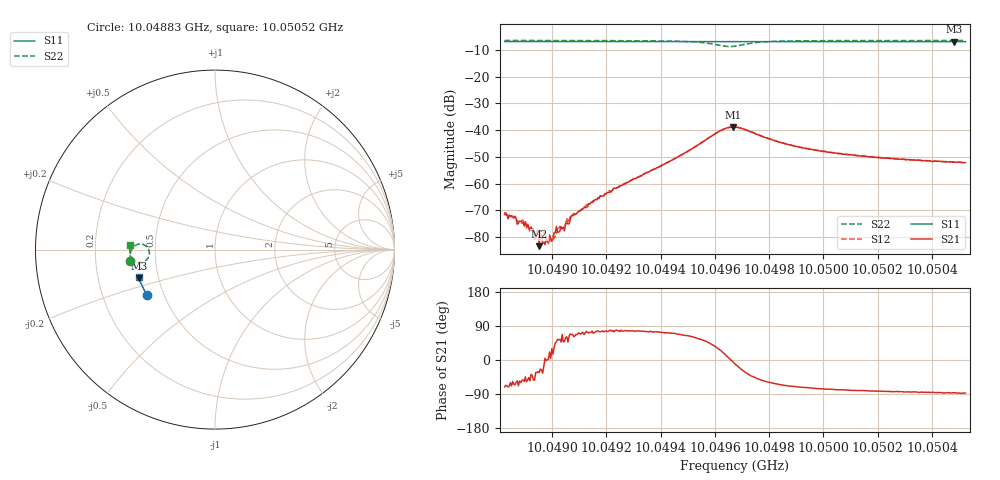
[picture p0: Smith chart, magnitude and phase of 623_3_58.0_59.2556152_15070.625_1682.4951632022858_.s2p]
#  HZ  S  RI  R  50.00
! Rohde & Schwarz Vector Network Analyzer
! Rohde-Schwarz,ZNB20-2Port,1311601062101988,3.16
! Created: UTC 3/21/2024, 1:18:14 AM
! freq[Hz]  re:S11  im:S11  re:S21  im:S21  re:S12  im:S12  re:S22  im:S22
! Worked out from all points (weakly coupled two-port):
!   401 points, 10.04883 GHz to 10.05052 GHz, reference 50 ohm
!   highest |S21| = -38.79 dB at 10.04967 GHz (marker M1); lowest = -83.4 dB at 10.04895 GHz (marker M2)
!   lowest |S11| = -6.9 dB at 10.05048 GHz (marker M3), VSWR 2.65, Z = 19.4 - j7.69 ohm
!   |S11| at or under -10 dB: nowhere
!   |S22| runs from -8.7 to -6.4 dB; largest |S21 - S12| = 0.00086
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1.0048825e10  -0.3772 -0.2551  8.64e-05 -0.000252  0.000128 -0.000265  -0.472 -0.0626
1.0048872e10  -0.3789 -0.2525  9.89e-05 -0.000143  0.000115 -0.000171  -0.4725 -0.0589
1.0048893e10  -0.3795 -0.2514  0.000114 -0.000149  0.000101 -0.00018  -0.4725 -0.0571
1.0048936e10  -0.381 -0.2489  5.38e-05 -7.18e-05  5.53e-05 -7.75e-05  -0.4726 -0.0537
1.0048953e10  -0.3816 -0.2479  5.67e-05 -3.73e-05  7.74e-05 -4.76e-05  -0.4727 -0.0523
1.0048978e10  -0.3825 -0.2465  0.000102 -3.58e-06  9.2e-05 -1.67e-05  -0.4727 -0.0502
1.0049008e10  -0.3833 -0.2448  0.000102 6.77e-05  7.48e-05 6.01e-05  -0.473 -0.0478
1.0049029e10  -0.3842 -0.2437  7.59e-05 0.000106  9.6e-05 0.000128  -0.473 -0.0458
1.0049042e10  -0.3846 -0.2429  0.000104 0.000114  6.23e-05 0.000141  -0.473 -0.0448
1.0049054e10  -0.3851 -0.2422  8.85e-05 0.000161  0.000117 0.000196  -0.4729 -0.0437
1.0049076e10  -0.3859 -0.2409  9.53e-05 0.000231  0.000111 0.000229  -0.473 -0.0418
1.004911e10  -0.3869 -0.2389  0.000103 0.000317  9.13e-05 0.000322  -0.4728 -0.0387
1.004922e10  -0.3905 -0.2327  0.000181 0.000706  0.000119 0.000738  -0.4723 -0.0276
1.0049394e10  -0.3958 -0.2225  0.000583 0.00198  0.000445 0.00202  -0.4667 -0.00473
1.0049619e10  -0.402 -0.2089  0.0087 0.00432  0.00838 0.00486  -0.3856 0.0209
1.0049666e10  -0.4028 -0.2066  0.0115 -0.00085  0.0115 -8.65e-05  -0.3666 -0.03
1.0049674e10  -0.4028 -0.2063  0.0112 -0.00209  0.0114 -0.00125  -0.3697 -0.0401
1.004978e10  -0.4066 -0.2005  0.00425 -0.00614  0.00469 -0.00589  -0.4429 -0.0639
1.0049959e10  -0.4118 -0.1898  0.00118 -0.00419  0.00145 -0.00411  -0.4701 -0.0286
1.0050243e10  -0.4188 -0.1724  0.000345 -0.00293  0.000545 -0.00298  -0.4752 0.00294
1.0050481e10  -0.424 -0.1578  0.000149 -0.00254  0.00028 -0.00255  -0.4751 0.0229
1.0050523e10  -0.425 -0.1551  0.000118 -0.00247  0.000233 -0.00246  -0.4751 0.0261
